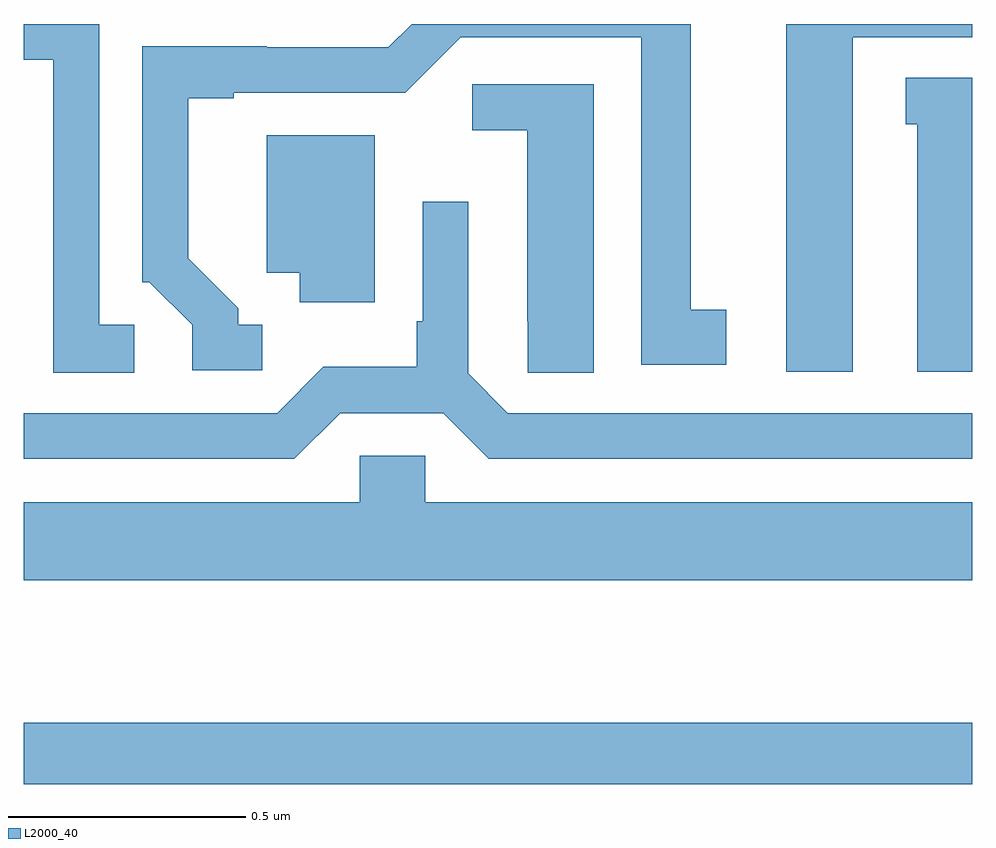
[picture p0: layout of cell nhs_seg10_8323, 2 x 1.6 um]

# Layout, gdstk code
import gdstk
lib = gdstk.Library(unit=1e-6, precision=1e-09)
def R(c, l, rs):  # rectangles x0, y0, x1, y1
    for r in rs: c.add(gdstk.rectangle(r[:2], r[2:], *l))
def P(c, l, *ps):  # polygons
    for p in ps: c.add(gdstk.Polygon(p, *l))
L2000_40 = (2000, 40)

nhs_seg10_8323 = lib.new_cell('nhs_seg10_8323')
R(nhs_seg10_8323, L2000_40, [(215,1287.898,217,1288.027)])
P(nhs_seg10_8323, L2000_40, [(216.748,1289.472),(217,1289.472),(217,1289.5),(216.608,1289.5),(216.608,1288.767),(216.748,1288.767)],
  [(215.233,1288.866),(215.16,1288.866),(215.16,1289.5),(215,1289.5),(215,1289.425),(215.063,1289.425),(215.063,1288.765),(215.233,1288.765)],
  [(215.503,1288.866),(215.452,1288.866),(215.452,1288.901),(215.347,1289.006),(215.347,1289.343),(215.443,1289.343),(215.443,1289.355),(215.805,1289.355),(215.922,1289.472),(216.302,1289.472),(216.302,1288.782),(216.481,1288.782),(216.481,1288.898),(216.406,1288.898),(216.406,1289.5),(215.818,1289.5),(215.769,1289.451),(215.513,1289.451),(215.513,1289.453),(215.25,1289.453),(215.25,1288.956),(215.265,1288.956),(215.355,1288.866),(215.355,1288.77),(215.503,1288.77)],
  [(217,1289.387),(216.86,1289.387),(216.86,1289.289),(216.884,1289.289),(216.884,1288.767),(217,1288.767)],
  [(216.202,1289.373),(215.946,1289.373),(215.946,1289.276),(216.062,1289.276),(216.062,1288.873),(216.063,1288.873),(216.063,1288.765),(216.202,1288.765)],
  [(215.74,1289.266),(215.513,1289.266),(215.513,1288.976),(215.582,1288.976),(215.582,1288.914),(215.74,1288.914)],
  [(215.667,1288.68),(215.885,1288.68),(215.981,1288.584),(217,1288.584),(217,1288.68),(216.021,1288.68),(215.937,1288.764),(215.937,1289.125),(215.841,1289.125),(215.841,1288.873),(215.829,1288.873),(215.829,1288.777),(215.632,1288.777),(215.535,1288.68),(215,1288.68),(215,1288.584),(215.571,1288.584)],
  [(217,1288.492),(215.847,1288.492),(215.847,1288.59),(215.709,1288.59),(215.709,1288.492),(215,1288.492),(215,1288.328),(217,1288.328)])

lib.write_gds('nhs_seg10_8323.gds')
